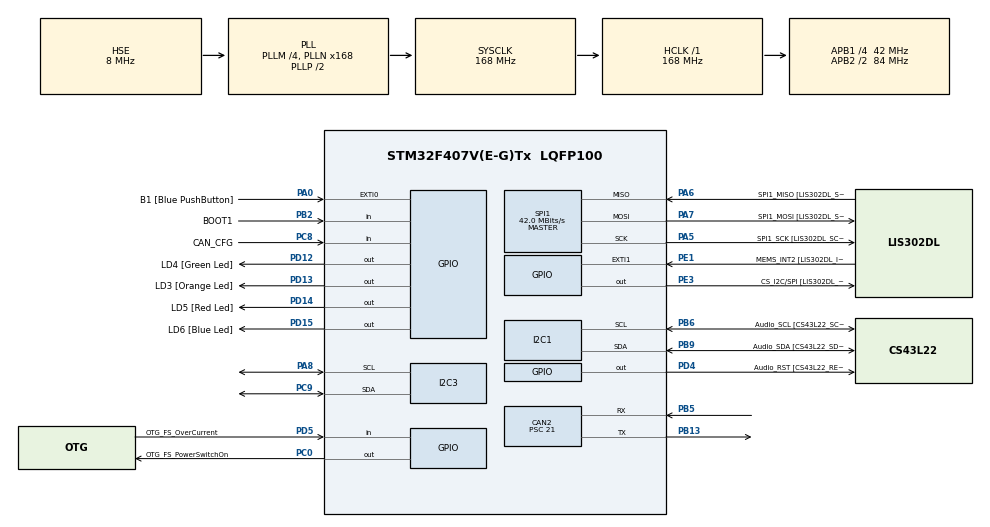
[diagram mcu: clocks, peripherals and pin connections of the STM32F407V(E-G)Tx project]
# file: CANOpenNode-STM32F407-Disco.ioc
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CAN2.ABOM=ENABLE
CAN2.AWUM=DISABLE
CAN2.BS1=CAN_BS1_13TQ
CAN2.BS2=CAN_BS2_2TQ
CAN2.CalculateBaudRate=125000
CAN2.CalculateTimeBit=8000
CAN2.CalculateTimeQuantum=500.0
CAN2.Mode=CAN_MODE_NORMAL
CAN2.NART=DISABLE
CAN2.Prescaler=21
CAN2.RFLM=ENABLE
CAN2.SJW=CAN_SJW_2TQ
CAN2.TXFP=ENABLE
Mcu.Family=STM32F4
Mcu.Name=STM32F407V(E-G)Tx
Mcu.Package=LQFP100
NVIC.CAN2_RX0_IRQn=true\:0\:0\:false\:false\:true\:true\:true\:true
NVIC.CAN2_RX1_IRQn=true\:0\:0\:false\:false\:true\:true\:true\:true
NVIC.CAN2_SCE_IRQn=true\:0\:0\:false\:false\:true\:true\:true\:true
NVIC.CAN2_TX_IRQn=true\:0\:0\:false\:false\:true\:true\:true\:true
NVIC.PriorityGroup=NVIC_PRIORITYGROUP_0
NVIC.TIM8_TRG_COM_TIM14_IRQn=true\:0\:0\:false\:false\:true\:true\:true\:true
PA0-WKUP.GPIO_Label=B1 [Blue PushButton]
PA0-WKUP.GPIO_ModeDefaultEXTI=GPIO_MODE_EVT_RISING
PA0-WKUP.GPIO_PuPd=GPIO_NOPULL
PA0-WKUP.Signal=GPXTI0
PA10.GPIO_Label=OTG_FS_ID
PA10.GPIO_Mode=GPIO_MODE_AF_PP
PA10.GPIO_PuPd=GPIO_NOPULL
PA10.GPIO_Speed=GPIO_SPEED_FREQ_LOW
PA10.Signal=USB_OTG_FS_ID
PA11.GPIO_Label=OTG_FS_DM
PA11.GPIO_Mode=GPIO_MODE_AF_PP
PA11.GPIO_PuPd=GPIO_NOPULL
PA11.GPIO_Speed=GPIO_SPEED_FREQ_LOW
PA11.Signal=USB_OTG_FS_DM
PA12.GPIO_Label=OTG_FS_DP
PA12.GPIO_Mode=GPIO_MODE_AF_PP
PA12.GPIO_PuPd=GPIO_NOPULL
PA12.GPIO_Speed=GPIO_SPEED_FREQ_LOW
PA12.Signal=USB_OTG_FS_DP
PA13.GPIO_Label=SWDIO
PA13.Mode=Serial_Wire
PA13.Signal=SYS_JTMS-SWDIO
PA14.GPIO_Label=SWCLK
PA14.Mode=Serial_Wire
PA14.Signal=SYS_JTCK-SWCLK
PA4.GPIO_Label=I2S3_WS [CS43L22_LRCK]
PA4.GPIO_Mode=GPIO_MODE_AF_PP
PA4.GPIO_PuPd=GPIO_NOPULL
PA4.GPIO_Speed=GPIO_SPEED_FREQ_LOW
PA4.Signal=I2S3_WS
PA5.GPIO_Label=SPI1_SCK [LIS302DL_SCL/SPC]
PA5.GPIO_Mode=GPIO_MODE_AF_PP
PA5.GPIO_PuPd=GPIO_NOPULL
PA5.GPIO_Speed=GPIO_SPEED_FREQ_LOW
PA5.Mode=Full_Duplex_Master
PA5.Signal=SPI1_SCK
PA6.GPIO_Label=SPI1_MISO [LIS302DL_SDO]
PA6.GPIO_Mode=GPIO_MODE_AF_PP
PA6.GPIO_PuPd=GPIO_NOPULL
PA6.GPIO_Speed=GPIO_SPEED_FREQ_LOW
PA6.Mode=Full_Duplex_Master
PA6.Signal=SPI1_MISO
PA7.GPIO_Label=SPI1_MOSI [LIS302DL_SDA/SDI/SDO]
PA7.GPIO_Mode=GPIO_MODE_AF_PP
PA7.GPIO_PuPd=GPIO_NOPULL
PA7.GPIO_Speed=GPIO_SPEED_FREQ_LOW
PA7.Mode=Full_Duplex_Master
PA7.Signal=SPI1_MOSI
PA8.Mode=I2C
PA8.Signal=I2C3_SCL
PA9.GPIO_Label=VBUS_FS
PA9.GPIO_Mode=GPIO_MODE_INPUT
PA9.GPIO_PuPd=GPIO_NOPULL
PA9.Signal=USB_OTG_FS_VBUS
PB10.GPIO_Label=CLK_IN [MP45DT02_CLK]
PB10.GPIO_Mode=GPIO_MODE_AF_PP
PB10.GPIO_PuPd=GPIO_NOPULL
PB10.GPIO_Speed=GPIO_SPEED_FREQ_LOW
PB10.Signal=I2S2_CK
PB13.Mode=CAN_Activate
PB13.Signal=CAN2_TX
PB2.GPIO_Label=BOOT1
PB2.GPIO_Mode=GPIO_MODE_INPUT
PB2.GPIO_PuPd=GPIO_NOPULL
PB2.Signal=GPIO_Input
PB3.GPIO_Label=SWO
PB3.Signal=SYS_JTDO-SWO
PB5.Mode=CAN_Activate
PB5.Signal=CAN2_RX
PB6.GPIO_Label=Audio_SCL [CS43L22_SCL]
PB6.GPIO_Mode=GPIO_MODE_AF_OD
PB6.GPIO_Pu=GPIO_PULLUP
PB6.GPIO_PuPd=GPIO_NOPULL
PB6.GPIO_Speed=GPIO_SPEED_FREQ_LOW
PB6.Mode=I2C
PB6.Signal=I2C1_SCL
PB9.GPIO_Label=Audio_SDA [CS43L22_SDA]
PB9.GPIO_Mode=GPIO_MODE_AF_OD
PB9.GPIO_Pu=GPIO_PULLUP
PB9.GPIO_PuPd=GPIO_NOPULL
PB9.GPIO_Speed=GPIO_SPEED_FREQ_LOW
PB9.Mode=I2C
PB9.Signal=I2C1_SDA
PC0.GPIO_Label=OTG_FS_PowerSwitchOn
PC0.GPIO_PuPd=GPIO_NOPULL
PC0.GPIO_Speed=GPIO_SPEED_FREQ_LOW
PC0.PinState=GPIO_PIN_SET
PC0.Signal=GPIO_Output
PC10.GPIO_Label=I2S3_SCK [CS43L22_SCLK]
PC10.GPIO_Mode=GPIO_MODE_AF_PP
PC10.GPIO_PuPd=GPIO_NOPULL
PC10.GPIO_Speed=GPIO_SPEED_FREQ_LOW
PC10.Signal=I2S3_CK
PC12.GPIO_Label=I2S3_SD [CS43L22_SDIN]
PC12.GPIO_Mode=GPIO_MODE_AF_PP
PC12.GPIO_PuPd=GPIO_NOPULL
PC12.GPIO_Speed=GPIO_SPEED_FREQ_LOW
PC12.Signal=I2S3_SD
PC14-OSC32_IN.GPIO_Label=PC14-OSC32_IN
PC14-OSC32_IN.Mode=LSE-External-Oscillator
PC14-OSC32_IN.Signal=RCC_OSC32_IN
PC15-OSC32_OUT.GPIO_Label=PC15-OSC32_OUT
PC15-OSC32_OUT.Mode=LSE-External-Oscillator
PC15-OSC32_OUT.Signal=RCC_OSC32_OUT
PC3.GPIO_Label=PDM_OUT [MP45DT02_DOUT]
PC3.GPIO_Mode=GPIO_MODE_AF_PP
PC3.GPIO_PuPd=GPIO_NOPULL
PC3.GPIO_Speed=GPIO_SPEED_FREQ_LOW
PC3.Signal=I2S2_SD
PC7.GPIO_Label=I2S3_MCK [CS43L22_MCLK]
PC7.GPIO_Mode=GPIO_MODE_AF_PP
PC7.GPIO_PuPd=GPIO_NOPULL
PC7.GPIO_Speed=GPIO_SPEED_FREQ_LOW
PC7.Signal=I2S3_MCK
PC8.GPIO_Label=CAN_CFG
PC8.GPIO_PuPd=GPIO_PULLUP
PC8.Signal=GPIO_Input
PC9.Mode=I2C
PC9.Signal=I2C3_SDA
PD0.Signal=CAN1_RX
PD12.GPIO_Label=LD4 [Green Led]
PD12.GPIO_PuPd=GPIO_NOPULL
PD12.GPIO_Speed=GPIO_SPEED_FREQ_LOW
PD12.Signal=GPIO_Output
PD13.GPIO_Label=LD3 [Orange Led]
PD13.GPIO_PuPd=GPIO_NOPULL
PD13.GPIO_Speed=GPIO_SPEED_FREQ_LOW
PD13.Signal=GPIO_Output
PD14.GPIO_Label=LD5 [Red Led]
PD14.GPIO_PuPd=GPIO_NOPULL
PD14.GPIO_Speed=GPIO_SPEED_FREQ_LOW
PD14.Signal=GPIO_Output
PD15.GPIO_Label=LD6 [Blue Led]
PD15.GPIO_PuPd=GPIO_NOPULL
PD15.GPIO_Speed=GPIO_SPEED_FREQ_LOW
PD15.Signal=GPIO_Output
PD4.GPIO_Label=Audio_RST [CS43L22_RESET]
PD4.GPIO_PuPd=GPIO_NOPULL
PD4.GPIO_Speed=GPIO_SPEED_FREQ_LOW
PD4.Signal=GPIO_Output
PD5.GPIO_Label=OTG_FS_OverCurrent
PD5.GPIO_Mode=GPIO_MODE_INPUT
PD5.GPIO_PuPd=GPIO_NOPULL
PD5.Signal=GPIO_Input
PE1.GPIO_Label=MEMS_INT2 [LIS302DL_INT2]
PE1.GPIO_ModeDefaultEXTI=GPIO_MODE_EVT_RISING
PE1.GPIO_PuPd=GPIO_NOPULL
PE1.Signal=GPXTI1
PE3.GPIO_Label=CS_I2C/SPI [LIS302DL_CS_I2C/SPI]
PE3.GPIO_PuPd=GPIO_NOPULL
PE3.GPIO_Speed=GPIO_SPEED_FREQ_LOW
PE3.Signal=GPIO_Output
PH0-OSC_IN.GPIO_Label=PH0-OSC_IN
PH0-OSC_IN.Mode=HSE-External-Oscillator
PH0-OSC_IN.Signal=RCC_OSC_IN
PH1-OSC_OUT.GPIO_Label=PH1-OSC_OUT
PH1-OSC_OUT.Mode=HSE-External-Oscillator
PH1-OSC_OUT.Signal=RCC_OSC_OUT
ProjectManager.HeapSize=0x200
ProjectManager.StackSize=0x400
ProjectManager.TargetToolchain=STM32CubeIDE
RCC.48MHZClocksFreq_Value=48000000
RCC.AHBFreq_Value=168000000
RCC.APB1CLKDivider=RCC_HCLK_DIV4
RCC.APB1Freq_Value=42000000
RCC.APB1TimFreq_Value=84000000
RCC.APB2CLKDivider=RCC_HCLK_DIV2
RCC.APB2Freq_Value=84000000
RCC.APB2TimFreq_Value=168000000
RCC.CortexFreq_Value=168000000
RCC.HCLKFreq_Value=168000000
RCC.HSE_VALUE=8000000
RCC.HSI_VALUE=16000000
RCC.PLLI2SN=50
RCC.PLLM=4
RCC.PLLN=168
RCC.PLLQ=7
RCC.PLLSourceVirtual=RCC_PLLSOURCE_HSE
RCC.SYSCLKFreq_VALUE=168000000
RCC.SYSCLKSource=RCC_SYSCLKSOURCE_PLLCLK
RCC.VCOOutputFreq_Value=336000000
SPI1.BaudRatePrescaler=SPI_BAUDRATEPRESCALER_2
SPI1.BaudRatePrescaler-Full_Duplex_Master=SPI_BAUDRATEPRESCALER_2
SPI1.CalculateBaudRate=42.0 MBits/s
SPI1.CalculateBaudRate-Full_Duplex_Master=42.0 MBits/s
SPI1.Direction=SPI_DIRECTION_2LINES
SPI1.Mode=SPI_MODE_MASTER
SPI1.Mode-Full_Duplex_Master=SPI_MODE_MASTER
SPI1.VirtualType=VM_MASTER
TIM14.Period=1000
TIM14.Prescaler=83
VP_TIM14_VS_ClockSourceINT.Mode=Enable_Timer
board=STM32F407G-DISC1

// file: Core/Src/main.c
/* USER CODE BEGIN Header */
/**
  ******************************************************************************
  * @file           : main.c
  * @brief          : Main program body
  ******************************************************************************
  * @attention
  *
  * Copyright (c) 2022 STMicroelectronics.
  * All rights reserved.
  *
  * This software is licensed under terms that can be found in the LICENSE file
  * in the root directory of this software component.
  * If no LICENSE file comes with this software, it is provided AS-IS.
  *
  ******************************************************************************
  */
/* USER CODE END Header */
#include "main.h"

/* USER CODE BEGIN Includes */
#include "CO_app_STM32.h"
/* USER CODE END Includes */

CAN_HandleTypeDef hcan2;

I2C_HandleTypeDef hi2c1;
I2C_HandleTypeDef hi2c3;

SPI_HandleTypeDef hspi1;

TIM_HandleTypeDef htim14;

void SystemClock_Config(void);
static void MX_GPIO_Init(void);
static void MX_I2C1_Init(void);
static void MX_SPI1_Init(void);
static void MX_TIM14_Init(void);
static void MX_CAN2_Init(void);
static void MX_I2C3_Init(void);

/* USER CODE BEGIN 0 */
/* Timer interrupt function executes every 1 ms */
void
HAL_TIM_PeriodElapsedCallback(TIM_HandleTypeDef* htim) {
    if (htim == canopenNodeSTM32->timerHandle) {
        canopen_app_interrupt();
    }
}
/* USER CODE END 0 */

int main(void)
{

  /* MCU Configuration--------------------------------------------------------*/

  /* Reset of all peripherals, Initializes the Flash interface and the Systick. */
  HAL_Init();

  /* Configure the system clock */
  SystemClock_Config();

  /* Initialize all configured peripherals */
  MX_GPIO_Init();
  MX_I2C1_Init();
  MX_SPI1_Init();
  MX_TIM14_Init();
  MX_CAN2_Init();
  MX_I2C3_Init();
  /* USER CODE BEGIN 2 */
  CANopenNodeSTM32 canOpenNodeSTM32;
  canOpenNodeSTM32.CANHandle = &hcan2;
  canOpenNodeSTM32.HWInitFunction = MX_CAN2_Init;
  canOpenNodeSTM32.timerHandle = &htim14;
  canOpenNodeSTM32.desiredNodeID = 1;
  canOpenNodeSTM32.baudrate = 125;
  canopen_app_init(&canOpenNodeSTM32);
  /* USER CODE END 2 */

  /* Infinite loop */
  /* USER CODE BEGIN WHILE */
  while (1)
  {
	  HAL_GPIO_WritePin(LD3_GPIO_Port, LD3_Pin, !canOpenNodeSTM32.outStatusLEDGreen);
	  HAL_GPIO_WritePin(LD4_GPIO_Port, LD4_Pin, !canOpenNodeSTM32.outStatusLEDRed);
	  canopen_app_process();
    /* USER CODE END WHILE */

  }
}

void SystemClock_Config(void)
{
  RCC_OscInitTypeDef RCC_OscInitStruct = {0};
  RCC_ClkInitTypeDef RCC_ClkInitStruct = {0};

  /** Configure the main internal regulator output voltage
  */
  __HAL_RCC_PWR_CLK_ENABLE();
  __HAL_PWR_VOLTAGESCALING_CONFIG(PWR_REGULATOR_VOLTAGE_SCALE1);

  /** Initializes the RCC Oscillators according to the specified parameters
  * in the RCC_OscInitTypeDef structure.
  */
  RCC_OscInitStruct.OscillatorType = RCC_OSCILLATORTYPE_HSE;
  RCC_OscInitStruct.HSEState = RCC_HSE_ON;
  RCC_OscInitStruct.PLL.PLLState = RCC_PLL_ON;
  RCC_OscInitStruct.PLL.PLLSource = RCC_PLLSOURCE_HSE;
  RCC_OscInitStruct.PLL.PLLM = 4;
  RCC_OscInitStruct.PLL.PLLN = 168;
  RCC_OscInitStruct.PLL.PLLP = RCC_PLLP_DIV2;
  RCC_OscInitStruct.PLL.PLLQ = 7;
  if (HAL_RCC_OscConfig(&RCC_OscInitStruct) != HAL_OK)
  {
    Error_Handler();
  }

  /** Initializes the CPU, AHB and APB buses clocks
  */
  RCC_ClkInitStruct.ClockType = RCC_CLOCKTYPE_HCLK|RCC_CLOCKTYPE_SYSCLK
                              |RCC_CLOCKTYPE_PCLK1|RCC_CLOCKTYPE_PCLK2;
  RCC_ClkInitStruct.SYSCLKSource = RCC_SYSCLKSOURCE_PLLCLK;
  RCC_ClkInitStruct.AHBCLKDivider = RCC_SYSCLK_DIV1;
  RCC_ClkInitStruct.APB1CLKDivider = RCC_HCLK_DIV4;
  RCC_ClkInitStruct.APB2CLKDivider = RCC_HCLK_DIV2;

  if (HAL_RCC_ClockConfig(&RCC_ClkInitStruct, FLASH_LATENCY_5) != HAL_OK)
  {
    Error_Handler();
  }
}

static void MX_CAN2_Init(void)
{

  hcan2.Instance = CAN2;
  hcan2.Init.Prescaler = 21;
  hcan2.Init.Mode = CAN_MODE_NORMAL;
  hcan2.Init.SyncJumpWidth = CAN_SJW_2TQ;
  hcan2.Init.TimeSeg1 = CAN_BS1_13TQ;
  hcan2.Init.TimeSeg2 = CAN_BS2_2TQ;
  hcan2.Init.TimeTriggeredMode = DISABLE;
  hcan2.Init.AutoBusOff = ENABLE;
  hcan2.Init.AutoWakeUp = DISABLE;
  hcan2.Init.AutoRetransmission = DISABLE;
  hcan2.Init.ReceiveFifoLocked = ENABLE;
  hcan2.Init.TransmitFifoPriority = ENABLE;
  if (HAL_CAN_Init(&hcan2) != HAL_OK)
  {
    Error_Handler();
  }

}

static void MX_I2C1_Init(void)
{

  hi2c1.Instance = I2C1;
  hi2c1.Init.ClockSpeed = 100000;
  hi2c1.Init.DutyCycle = I2C_DUTYCYCLE_2;
  hi2c1.Init.OwnAddress1 = 0;
  hi2c1.Init.AddressingMode = I2C_ADDRESSINGMODE_7BIT;
  hi2c1.Init.DualAddressMode = I2C_DUALADDRESS_DISABLE;
  hi2c1.Init.OwnAddress2 = 0;
  hi2c1.Init.GeneralCallMode = I2C_GENERALCALL_DISABLE;
  hi2c1.Init.NoStretchMode = I2C_NOSTRETCH_DISABLE;
  if (HAL_I2C_Init(&hi2c1) != HAL_OK)
  {
    Error_Handler();
  }

}

static void MX_I2C3_Init(void)
{

  hi2c3.Instance = I2C3;
  hi2c3.Init.ClockSpeed = 100000;
  hi2c3.Init.DutyCycle = I2C_DUTYCYCLE_2;
  hi2c3.Init.OwnAddress1 = 0;
  hi2c3.Init.AddressingMode = I2C_ADDRESSINGMODE_7BIT;
  hi2c3.Init.DualAddressMode = I2C_DUALADDRESS_DISABLE;
  hi2c3.Init.OwnAddress2 = 0;
  hi2c3.Init.GeneralCallMode = I2C_GENERALCALL_DISABLE;
  hi2c3.Init.NoStretchMode = I2C_NOSTRETCH_DISABLE;
  if (HAL_I2C_Init(&hi2c3) != HAL_OK)
  {
    Error_Handler();
  }

}

static void MX_SPI1_Init(void)
{

  /* SPI1 parameter configuration*/
  hspi1.Instance = SPI1;
  hspi1.Init.Mode = SPI_MODE_MASTER;
  hspi1.Init.Direction = SPI_DIRECTION_2LINES;
  hspi1.Init.DataSize = SPI_DATASIZE_8BIT;
  hspi1.Init.CLKPolarity = SPI_POLARITY_LOW;
  hspi1.Init.CLKPhase = SPI_PHASE_1EDGE;
  hspi1.Init.NSS = SPI_NSS_SOFT;
  hspi1.Init.BaudRatePrescaler = SPI_BAUDRATEPRESCALER_2;
  hspi1.Init.FirstBit = SPI_FIRSTBIT_MSB;
  hspi1.Init.TIMode = SPI_TIMODE_DISABLE;
  hspi1.Init.CRCCalculation = SPI_CRCCALCULATION_DISABLE;
  hspi1.Init.CRCPolynomial = 10;
  if (HAL_SPI_Init(&hspi1) != HAL_OK)
  {
    Error_Handler();
  }

}

static void MX_TIM14_Init(void)
{

  htim14.Instance = TIM14;
  htim14.Init.Prescaler = 83;
  htim14.Init.CounterMode = TIM_COUNTERMODE_UP;
  htim14.Init.Period = 1000;
  htim14.Init.ClockDivision = TIM_CLOCKDIVISION_DIV1;
  htim14.Init.AutoReloadPreload = TIM_AUTORELOAD_PRELOAD_DISABLE;
  if (HAL_TIM_Base_Init(&htim14) != HAL_OK)
  {
    Error_Handler();
  }

}

static void MX_GPIO_Init(void)
{
  GPIO_InitTypeDef GPIO_InitStruct = {0};

  /* GPIO Ports Clock Enable */
  __HAL_RCC_GPIOE_CLK_ENABLE();
  __HAL_RCC_GPIOC_CLK_ENABLE();
  __HAL_RCC_GPIOH_CLK_ENABLE();
  __HAL_RCC_GPIOA_CLK_ENABLE();
  __HAL_RCC_GPIOB_CLK_ENABLE();
  __HAL_RCC_GPIOD_CLK_ENABLE();

  /*Configure GPIO pin Output Level */
  HAL_GPIO_WritePin(CS_I2C_SPI_GPIO_Port, CS_I2C_SPI_Pin, GPIO_PIN_RESET);

  /*Configure GPIO pin Output Level */
  HAL_GPIO_WritePin(OTG_FS_PowerSwitchOn_GPIO_Port, OTG_FS_PowerSwitchOn_Pin, GPIO_PIN_SET);

  /*Configure GPIO pin Output Level */
  HAL_GPIO_WritePin(GPIOD, LD4_Pin|LD3_Pin|LD5_Pin|LD6_Pin
                          |Audio_RST_Pin, GPIO_PIN_RESET);

  /*Configure GPIO pin : CS_I2C_SPI_Pin */
  GPIO_InitStruct.Pin = CS_I2C_SPI_Pin;
  GPIO_InitStruct.Mode = GPIO_MODE_OUTPUT_PP;
  GPIO_InitStruct.Pull = GPIO_NOPULL;
  GPIO_InitStruct.Speed = GPIO_SPEED_FREQ_LOW;
  HAL_GPIO_Init(CS_I2C_SPI_GPIO_Port, &GPIO_InitStruct);

  /*Configure GPIO pin : OTG_FS_PowerSwitchOn_Pin */
  GPIO_InitStruct.Pin = OTG_FS_PowerSwitchOn_Pin;
  GPIO_InitStruct.Mode = GPIO_MODE_OUTPUT_PP;
  GPIO_InitStruct.Pull = GPIO_NOPULL;
  GPIO_InitStruct.Speed = GPIO_SPEED_FREQ_LOW;
  HAL_GPIO_Init(OTG_FS_PowerSwitchOn_GPIO_Port, &GPIO_InitStruct);

  /*Configure GPIO pin : PDM_OUT_Pin */
  GPIO_InitStruct.Pin = PDM_OUT_Pin;
  GPIO_InitStruct.Mode = GPIO_MODE_AF_PP;
  GPIO_InitStruct.Pull = GPIO_NOPULL;
  GPIO_InitStruct.Speed = GPIO_SPEED_FREQ_LOW;
  GPIO_InitStruct.Alternate = GPIO_AF5_SPI2;
  HAL_GPIO_Init(PDM_OUT_GPIO_Port, &GPIO_InitStruct);

  /*Configure GPIO pin : B1_Pin */
  GPIO_InitStruct.Pin = B1_Pin;
  GPIO_InitStruct.Mode = GPIO_MODE_EVT_RISING;
  GPIO_InitStruct.Pull = GPIO_NOPULL;
  HAL_GPIO_Init(B1_GPIO_Port, &GPIO_InitStruct);

  /*Configure GPIO pin : I2S3_WS_Pin */
  GPIO_InitStruct.Pin = I2S3_WS_Pin;
  GPIO_InitStruct.Mode = GPIO_MODE_AF_PP;
  GPIO_InitStruct.Pull = GPIO_NOPULL;
  GPIO_InitStruct.Speed = GPIO_SPEED_FREQ_LOW;
  GPIO_InitStruct.Alternate = GPIO_AF6_SPI3;
  HAL_GPIO_Init(I2S3_WS_GPIO_Port, &GPIO_InitStruct);

  /*Configure GPIO pin : BOOT1_Pin */
  GPIO_InitStruct.Pin = BOOT1_Pin;
  GPIO_InitStruct.Mode = GPIO_MODE_INPUT;
  GPIO_InitStruct.Pull = GPIO_NOPULL;
  HAL_GPIO_Init(BOOT1_GPIO_Port, &GPIO_InitStruct);

  /*Configure GPIO pin : CLK_IN_Pin */
  GPIO_InitStruct.Pin = CLK_IN_Pin;
  GPIO_InitStruct.Mode = GPIO_MODE_AF_PP;
  GPIO_InitStruct.Pull = GPIO_NOPULL;
  GPIO_InitStruct.Speed = GPIO_SPEED_FREQ_LOW;
  GPIO_InitStruct.Alternate = GPIO_AF5_SPI2;
  HAL_GPIO_Init(CLK_IN_GPIO_Port, &GPIO_InitStruct);

  /*Configure GPIO pins : LD4_Pin LD3_Pin LD5_Pin LD6_Pin
                           Audio_RST_Pin */
  GPIO_InitStruct.Pin = LD4_Pin|LD3_Pin|LD5_Pin|LD6_Pin
                          |Audio_RST_Pin;
  GPIO_InitStruct.Mode = GPIO_MODE_OUTPUT_PP;
  GPIO_InitStruct.Pull = GPIO_NOPULL;
  GPIO_InitStruct.Speed = GPIO_SPEED_FREQ_LOW;
  HAL_GPIO_Init(GPIOD, &GPIO_InitStruct);

  /*Configure GPIO pins : I2S3_MCK_Pin I2S3_SCK_Pin I2S3_SD_Pin */
  GPIO_InitStruct.Pin = I2S3_MCK_Pin|I2S3_SCK_Pin|I2S3_SD_Pin;
  GPIO_InitStruct.Mode = GPIO_MODE_AF_PP;
  GPIO_InitStruct.Pull = GPIO_NOPULL;
  GPIO_InitStruct.Speed = GPIO_SPEED_FREQ_LOW;
  GPIO_InitStruct.Alternate = GPIO_AF6_SPI3;
  HAL_GPIO_Init(GPIOC, &GPIO_InitStruct);

  /*Configure GPIO pin : CAN_CFG_Pin */
  GPIO_InitStruct.Pin = CAN_CFG_Pin;
  GPIO_InitStruct.Mode = GPIO_MODE_INPUT;
  GPIO_InitStruct.Pull = GPIO_PULLUP;
  HAL_GPIO_Init(CAN_CFG_GPIO_Port, &GPIO_InitStruct);

  /*Configure GPIO pin : VBUS_FS_Pin */
  GPIO_InitStruct.Pin = VBUS_FS_Pin;
  GPIO_InitStruct.Mode = GPIO_MODE_INPUT;
  GPIO_InitStruct.Pull = GPIO_NOPULL;
  HAL_GPIO_Init(VBUS_FS_GPIO_Port, &GPIO_InitStruct);

  /*Configure GPIO pins : OTG_FS_ID_Pin OTG_FS_DM_Pin OTG_FS_DP_Pin */
  GPIO_InitStruct.Pin = OTG_FS_ID_Pin|OTG_FS_DM_Pin|OTG_FS_DP_Pin;
  GPIO_InitStruct.Mode = GPIO_MODE_AF_PP;
  GPIO_InitStruct.Pull = GPIO_NOPULL;
  GPIO_InitStruct.Speed = GPIO_SPEED_FREQ_LOW;
  GPIO_InitStruct.Alternate = GPIO_AF10_OTG_FS;
  HAL_GPIO_Init(GPIOA, &GPIO_InitStruct);

  /*Configure GPIO pin : PD0 */
  GPIO_InitStruct.Pin = GPIO_PIN_0;
  GPIO_InitStruct.Mode = GPIO_MODE_AF_PP;
  GPIO_InitStruct.Pull = GPIO_NOPULL;
  GPIO_InitStruct.Speed = GPIO_SPEED_FREQ_VERY_HIGH;
  GPIO_InitStruct.Alternate = GPIO_AF9_CAN1;
  HAL_GPIO_Init(GPIOD, &GPIO_InitStruct);

  /*Configure GPIO pin : OTG_FS_OverCurrent_Pin */
  GPIO_InitStruct.Pin = OTG_FS_OverCurrent_Pin;
  GPIO_InitStruct.Mode = GPIO_MODE_INPUT;
  GPIO_InitStruct.Pull = GPIO_NOPULL;
  HAL_GPIO_Init(OTG_FS_OverCurrent_GPIO_Port, &GPIO_InitStruct);

  /*Configure GPIO pin : MEMS_INT2_Pin */
  GPIO_InitStruct.Pin = MEMS_INT2_Pin;
  GPIO_InitStruct.Mode = GPIO_MODE_EVT_RISING;
  GPIO_InitStruct.Pull = GPIO_NOPULL;
  HAL_GPIO_Init(MEMS_INT2_GPIO_Port, &GPIO_InitStruct);

}

void Error_Handler(void)
{
  __disable_irq();
  while (1)
  {
  }
}
